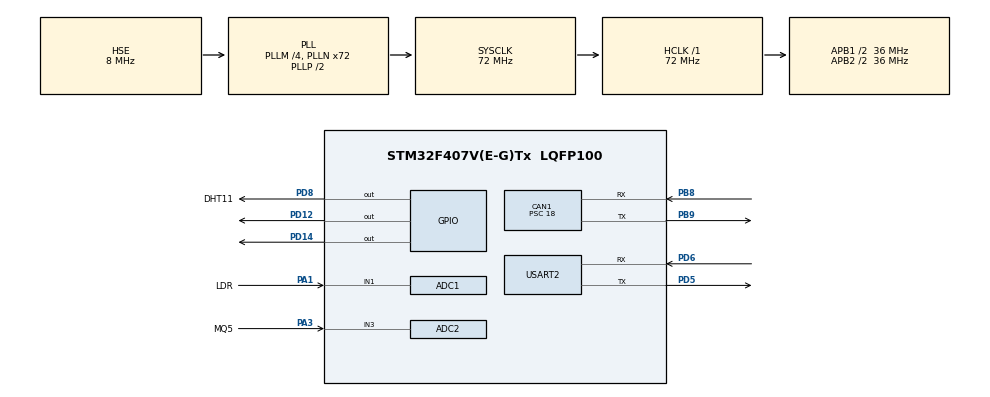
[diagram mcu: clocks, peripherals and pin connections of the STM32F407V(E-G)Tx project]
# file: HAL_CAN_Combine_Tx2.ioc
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ADC1.Channel-0\#ChannelRegularConversion=ADC_CHANNEL_1
ADC1.NbrOfConversionFlag=1
ADC1.Rank-0\#ChannelRegularConversion=1
ADC1.SamplingTime-0\#ChannelRegularConversion=ADC_SAMPLETIME_3CYCLES
ADC1.master=1
ADC2.Channel-0\#ChannelRegularConversion=ADC_CHANNEL_3
ADC2.NbrOfConversionFlag=1
ADC2.Rank-0\#ChannelRegularConversion=1
ADC2.SamplingTime-0\#ChannelRegularConversion=ADC_SAMPLETIME_3CYCLES
CAN1.BS1=CAN_BS1_2TQ
CAN1.CalculateBaudRate=500000
CAN1.CalculateTimeBit=2000
CAN1.CalculateTimeQuantum=500.0
CAN1.Prescaler=18
Mcu.Family=STM32F4
Mcu.Name=STM32F407V(E-G)Tx
Mcu.Package=LQFP100
NVIC.PriorityGroup=NVIC_PRIORITYGROUP_0
PA1.GPIO_Label=LDR
PA1.Signal=ADCx_IN1
PA3.GPIO_Label=MQ5
PA3.Signal=ADCx_IN3
PB8.Mode=CAN_Activate
PB8.Signal=CAN1_RX
PB9.Mode=CAN_Activate
PB9.Signal=CAN1_TX
PD12.Signal=GPIO_Output
PD14.Signal=GPIO_Output
PD5.Mode=Asynchronous
PD5.Signal=USART2_TX
PD6.Mode=Asynchronous
PD6.Signal=USART2_RX
PD8.GPIO_Label=DHT11
PD8.Signal=GPIO_Output
PH0-OSC_IN.Mode=HSE-External-Oscillator
PH0-OSC_IN.Signal=RCC_OSC_IN
PH1-OSC_OUT.Mode=HSE-External-Oscillator
PH1-OSC_OUT.Signal=RCC_OSC_OUT
ProjectManager.HeapSize=0x200
ProjectManager.StackSize=0x400
ProjectManager.TargetToolchain=STM32CubeIDE
RCC.48MHZClocksFreq_Value=20571428.57142857
RCC.AHBFreq_Value=72000000
RCC.APB1CLKDivider=RCC_HCLK_DIV2
RCC.APB1Freq_Value=36000000
RCC.APB1TimFreq_Value=72000000
RCC.APB2CLKDivider=RCC_HCLK_DIV2
RCC.APB2Freq_Value=36000000
RCC.APB2TimFreq_Value=72000000
RCC.CortexFreq_Value=72000000
RCC.HCLKFreq_Value=72000000
RCC.HSE_VALUE=8000000
RCC.HSI_VALUE=16000000
RCC.LSE_VALUE=32768
RCC.PLLM=4
RCC.PLLN=72
RCC.PLLQ=7
RCC.PLLSourceVirtual=RCC_PLLSOURCE_HSE
RCC.SYSCLKFreq_VALUE=72000000
RCC.SYSCLKSource=RCC_SYSCLKSOURCE_PLLCLK
RCC.VCOOutputFreq_Value=144000000
SH.ADCx_IN1.0=ADC1_IN1,IN1
SH.ADCx_IN3.0=ADC2_IN3,IN3
TIM2.Period=65535
TIM2.Prescaler=71
USART2.VirtualMode=VM_ASYNC
VP_TIM2_VS_ClockSourceINT.Mode=Internal
board=STM32F407G-DISC1

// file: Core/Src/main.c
/* USER CODE BEGIN Header */
/**
  ******************************************************************************
  * @file           : main.c
  * @brief          : Main program body
  ******************************************************************************
  * @attention
  *
  * Copyright (c) 2024 STMicroelectronics.
  * All rights reserved.
  *
  * This software is licensed under terms that can be found in the LICENSE file
  * in the root directory of this software component.
  * If no LICENSE file comes with this software, it is provided AS-IS.
  *
  ******************************************************************************
  */
/* USER CODE END Header */

#include "main.h"

/* USER CODE BEGIN Includes */
#include"stdio.h"
#include"string.h"
#include "dht11.h"
/* USER CODE END Includes */

ADC_HandleTypeDef hadc1;
ADC_HandleTypeDef hadc2;

CAN_HandleTypeDef hcan1;

TIM_HandleTypeDef htim2;

UART_HandleTypeDef huart2;

void SystemClock_Config(void);
static void MX_GPIO_Init(void);
static void MX_CAN1_Init(void);
static void MX_USART2_UART_Init(void);
static void MX_ADC1_Init(void);
static void MX_ADC2_Init(void);
static void MX_TIM2_Init(void);
/* USER CODE BEGIN PFP */
uint16_t LDR_DATA = 0 ;
uint16_t MQ5_DATA = 0 ;

uint8_t Rh_byte1, Rh_byte2, Temp_byte1, Temp_byte2;
uint16_t SUM;
float Temperature = 0, Humidity = 0;
uint8_t Presence = 0;

CAN_TxHeaderTypeDef TxHeader;
uint8_t TxData[8] = {0};
uint32_t TxMailBox;

/* USER CODE END PFP */

int main(void)
{

  /* MCU Configuration--------------------------------------------------------*/

  /* Reset of all peripherals, Initializes the Flash interface and the Systick. */
  HAL_Init();

  /* Configure the system clock */
  SystemClock_Config();

  /* Initialize all configured peripherals */
  MX_GPIO_Init();
  MX_CAN1_Init();
  MX_USART2_UART_Init();
  MX_ADC1_Init();
  MX_ADC2_Init();
  MX_TIM2_Init();
  /* USER CODE BEGIN 2 */
  HAL_CAN_Start(&hcan1);

  	  	TxHeader.DLC = 8;
  		TxHeader.RTR = CAN_RTR_DATA;
  		TxHeader.IDE = CAN_ID_STD;
  		TxHeader.StdId = 0x0A9;
  		TxHeader.ExtId = 0x0000;
  		TxHeader.TransmitGlobalTime = DISABLE;

  HAL_TIM_Base_Start(&htim2);       // Start timer for DHT timing
  /* USER CODE END 2 */

  /* Infinite loop */
  /* USER CODE BEGIN WHILE */
  while (1)  {
	  char str[100];
	  // Read LDR sensor (ADC1 Channel 1)
		HAL_ADC_Start(&hadc1);
		HAL_ADC_PollForConversion(&hadc1, HAL_MAX_DELAY);
		LDR_DATA = HAL_ADC_GetValue(&hadc1);
		HAL_ADC_Stop(&hadc1);

		// Read MQ5 sensor (ADC2 Channel 3)
		HAL_ADC_Start(&hadc2);
		HAL_ADC_PollForConversion(&hadc2, HAL_MAX_DELAY);
		MQ5_DATA = HAL_ADC_GetValue(&hadc2);
		HAL_ADC_Stop(&hadc2);

		 // Read DHT11 sensor
		    DHT11_Start();
		    Presence = DHT11_Check_Response();

		    Rh_byte1 = DHT11_Read();
		    Rh_byte2 = DHT11_Read();
		    Temp_byte1 = DHT11_Read();
		    Temp_byte2 = DHT11_Read();
		    SUM = DHT11_Read();

		    uint8_t check = Rh_byte1 + Rh_byte2 + Temp_byte1 + Temp_byte2;

		    if (check != SUM)
		    {
		      sprintf(str, "Checksum error!\r\n");
		      Temperature = 0;
		      Humidity = 0;
		    }
		    else
		    {
		      Humidity = Rh_byte1;     // For DHT11 decimal parts are 0
		      Temperature = Temp_byte1;
		    }

		    // Prepare CAN Tx data: 8 bytes = LDR(2) + MQ5(2) + Temp(2) + Humidity(2)
		    TxData[0] = (LDR_DATA >> 8) & 0xFF;
		    TxData[1] = LDR_DATA & 0xFF;

		    TxData[2] = (MQ5_DATA >> 8) & 0xFF;
		    TxData[3] = MQ5_DATA & 0xFF;

		    uint16_t temp_int = (uint16_t)Temperature;   // Assuming integer value for CAN
		    uint16_t hum_int = (uint16_t)Humidity;

		    TxData[4] = (temp_int >> 8) & 0xFF;
		    TxData[5] = temp_int & 0xFF;

		    TxData[6] = (hum_int >> 8) & 0xFF;
		    TxData[7] = hum_int & 0xFF;

		    if (HAL_CAN_AddTxMessage(&hcan1, &TxHeader, TxData, &TxMailBox) != HAL_OK)
		    {
		      // CAN transmit error, turn on red LED
		      HAL_GPIO_WritePin(GPIOD, GPIO_PIN_14, GPIO_PIN_SET);
		    }
		    else
		    {
		      // CAN transmit successful, toggle green LED
		      HAL_GPIO_TogglePin(GPIOD, GPIO_PIN_12);
		      HAL_GPIO_WritePin(GPIOD, GPIO_PIN_14, GPIO_PIN_RESET);  // Turn off red LED if previously on
		    }

		    // Print all sensor data via UART
		    sprintf(str, "LDR=%u, MQ5=%u, Temp=%.0f C, Hum=%.0f %%\r\n",
		            LDR_DATA, MQ5_DATA, Temperature, Humidity);
		    HAL_UART_Transmit(&huart2, (uint8_t*)str, strlen(str), HAL_MAX_DELAY);

		    HAL_Delay(3000);

    /* USER CODE END WHILE */

  }
}

void SystemClock_Config(void)
{
  RCC_OscInitTypeDef RCC_OscInitStruct = {0};
  RCC_ClkInitTypeDef RCC_ClkInitStruct = {0};

  /** Configure the main internal regulator output voltage
  */
  __HAL_RCC_PWR_CLK_ENABLE();
  __HAL_PWR_VOLTAGESCALING_CONFIG(PWR_REGULATOR_VOLTAGE_SCALE1);

  /** Initializes the RCC Oscillators according to the specified parameters
  * in the RCC_OscInitTypeDef structure.
  */
  RCC_OscInitStruct.OscillatorType = RCC_OSCILLATORTYPE_HSE;
  RCC_OscInitStruct.HSEState = RCC_HSE_ON;
  RCC_OscInitStruct.PLL.PLLState = RCC_PLL_ON;
  RCC_OscInitStruct.PLL.PLLSource = RCC_PLLSOURCE_HSE;
  RCC_OscInitStruct.PLL.PLLM = 4;
  RCC_OscInitStruct.PLL.PLLN = 72;
  RCC_OscInitStruct.PLL.PLLP = RCC_PLLP_DIV2;
  RCC_OscInitStruct.PLL.PLLQ = 7;
  if (HAL_RCC_OscConfig(&RCC_OscInitStruct) != HAL_OK)
  {
    Error_Handler();
  }

  /** Initializes the CPU, AHB and APB buses clocks
  */
  RCC_ClkInitStruct.ClockType = RCC_CLOCKTYPE_HCLK|RCC_CLOCKTYPE_SYSCLK
                              |RCC_CLOCKTYPE_PCLK1|RCC_CLOCKTYPE_PCLK2;
  RCC_ClkInitStruct.SYSCLKSource = RCC_SYSCLKSOURCE_PLLCLK;
  RCC_ClkInitStruct.AHBCLKDivider = RCC_SYSCLK_DIV1;
  RCC_ClkInitStruct.APB1CLKDivider = RCC_HCLK_DIV2;
  RCC_ClkInitStruct.APB2CLKDivider = RCC_HCLK_DIV2;

  if (HAL_RCC_ClockConfig(&RCC_ClkInitStruct, FLASH_LATENCY_2) != HAL_OK)
  {
    Error_Handler();
  }
}

static void MX_ADC1_Init(void)
{

  ADC_ChannelConfTypeDef sConfig = {0};

  /** Configure the global features of the ADC (Clock, Resolution, Data Alignment and number of conversion)
  */
  hadc1.Instance = ADC1;
  hadc1.Init.ClockPrescaler = ADC_CLOCK_SYNC_PCLK_DIV2;
  hadc1.Init.Resolution = ADC_RESOLUTION_12B;
  hadc1.Init.ScanConvMode = DISABLE;
  hadc1.Init.ContinuousConvMode = DISABLE;
  hadc1.Init.DiscontinuousConvMode = DISABLE;
  hadc1.Init.ExternalTrigConvEdge = ADC_EXTERNALTRIGCONVEDGE_NONE;
  hadc1.Init.ExternalTrigConv = ADC_SOFTWARE_START;
  hadc1.Init.DataAlign = ADC_DATAALIGN_RIGHT;
  hadc1.Init.NbrOfConversion = 1;
  hadc1.Init.DMAContinuousRequests = DISABLE;
  hadc1.Init.EOCSelection = ADC_EOC_SINGLE_CONV;
  if (HAL_ADC_Init(&hadc1) != HAL_OK)
  {
    Error_Handler();
  }

  /** Configure for the selected ADC regular channel its corresponding rank in the sequencer and its sample time.
  */
  sConfig.Channel = ADC_CHANNEL_1;
  sConfig.Rank = 1;
  sConfig.SamplingTime = ADC_SAMPLETIME_3CYCLES;
  if (HAL_ADC_ConfigChannel(&hadc1, &sConfig) != HAL_OK)
  {
    Error_Handler();
  }

}

static void MX_ADC2_Init(void)
{

  ADC_ChannelConfTypeDef sConfig = {0};

  /** Configure the global features of the ADC (Clock, Resolution, Data Alignment and number of conversion)
  */
  hadc2.Instance = ADC2;
  hadc2.Init.ClockPrescaler = ADC_CLOCK_SYNC_PCLK_DIV2;
  hadc2.Init.Resolution = ADC_RESOLUTION_12B;
  hadc2.Init.ScanConvMode = DISABLE;
  hadc2.Init.ContinuousConvMode = DISABLE;
  hadc2.Init.DiscontinuousConvMode = DISABLE;
  hadc2.Init.ExternalTrigConvEdge = ADC_EXTERNALTRIGCONVEDGE_NONE;
  hadc2.Init.ExternalTrigConv = ADC_SOFTWARE_START;
  hadc2.Init.DataAlign = ADC_DATAALIGN_RIGHT;
  hadc2.Init.NbrOfConversion = 1;
  hadc2.Init.DMAContinuousRequests = DISABLE;
  hadc2.Init.EOCSelection = ADC_EOC_SINGLE_CONV;
  if (HAL_ADC_Init(&hadc2) != HAL_OK)
  {
    Error_Handler();
  }

  /** Configure for the selected ADC regular channel its corresponding rank in the sequencer and its sample time.
  */
  sConfig.Channel = ADC_CHANNEL_3;
  sConfig.Rank = 1;
  sConfig.SamplingTime = ADC_SAMPLETIME_3CYCLES;
  if (HAL_ADC_ConfigChannel(&hadc2, &sConfig) != HAL_OK)
  {
    Error_Handler();
  }

}

static void MX_CAN1_Init(void)
{

  hcan1.Instance = CAN1;
  hcan1.Init.Prescaler = 18;
  hcan1.Init.Mode = CAN_MODE_NORMAL;
  hcan1.Init.SyncJumpWidth = CAN_SJW_1TQ;
  hcan1.Init.TimeSeg1 = CAN_BS1_2TQ;
  hcan1.Init.TimeSeg2 = CAN_BS2_1TQ;
  hcan1.Init.TimeTriggeredMode = DISABLE;
  hcan1.Init.AutoBusOff = DISABLE;
  hcan1.Init.AutoWakeUp = DISABLE;
  hcan1.Init.AutoRetransmission = DISABLE;
  hcan1.Init.ReceiveFifoLocked = DISABLE;
  hcan1.Init.TransmitFifoPriority = DISABLE;
  if (HAL_CAN_Init(&hcan1) != HAL_OK)
  {
    Error_Handler();
  }

}

static void MX_TIM2_Init(void)
{

  TIM_ClockConfigTypeDef sClockSourceConfig = {0};
  TIM_MasterConfigTypeDef sMasterConfig = {0};

  htim2.Instance = TIM2;
  htim2.Init.Prescaler = 71;
  htim2.Init.CounterMode = TIM_COUNTERMODE_UP;
  htim2.Init.Period = 65535;
  htim2.Init.ClockDivision = TIM_CLOCKDIVISION_DIV1;
  htim2.Init.AutoReloadPreload = TIM_AUTORELOAD_PRELOAD_DISABLE;
  if (HAL_TIM_Base_Init(&htim2) != HAL_OK)
  {
    Error_Handler();
  }
  sClockSourceConfig.ClockSource = TIM_CLOCKSOURCE_INTERNAL;
  if (HAL_TIM_ConfigClockSource(&htim2, &sClockSourceConfig) != HAL_OK)
  {
    Error_Handler();
  }
  sMasterConfig.MasterOutputTrigger = TIM_TRGO_RESET;
  sMasterConfig.MasterSlaveMode = TIM_MASTERSLAVEMODE_DISABLE;
  if (HAL_TIMEx_MasterConfigSynchronization(&htim2, &sMasterConfig) != HAL_OK)
  {
    Error_Handler();
  }

}

static void MX_USART2_UART_Init(void)
{

  huart2.Instance = USART2;
  huart2.Init.BaudRate = 115200;
  huart2.Init.WordLength = UART_WORDLENGTH_8B;
  huart2.Init.StopBits = UART_STOPBITS_1;
  huart2.Init.Parity = UART_PARITY_NONE;
  huart2.Init.Mode = UART_MODE_TX_RX;
  huart2.Init.HwFlowCtl = UART_HWCONTROL_NONE;
  huart2.Init.OverSampling = UART_OVERSAMPLING_16;
  if (HAL_UART_Init(&huart2) != HAL_OK)
  {
    Error_Handler();
  }

}

static void MX_GPIO_Init(void)
{
  GPIO_InitTypeDef GPIO_InitStruct = {0};

  /* GPIO Ports Clock Enable */
  __HAL_RCC_GPIOH_CLK_ENABLE();
  __HAL_RCC_GPIOA_CLK_ENABLE();
  __HAL_RCC_GPIOD_CLK_ENABLE();
  __HAL_RCC_GPIOB_CLK_ENABLE();

  /*Configure GPIO pin Output Level */
  HAL_GPIO_WritePin(GPIOD, DHT11_Pin|GPIO_PIN_12|GPIO_PIN_14, GPIO_PIN_RESET);

  /*Configure GPIO pins : DHT11_Pin PD12 PD14 */
  GPIO_InitStruct.Pin = DHT11_Pin|GPIO_PIN_12|GPIO_PIN_14;
  GPIO_InitStruct.Mode = GPIO_MODE_OUTPUT_PP;
  GPIO_InitStruct.Pull = GPIO_NOPULL;
  GPIO_InitStruct.Speed = GPIO_SPEED_FREQ_LOW;
  HAL_GPIO_Init(GPIOD, &GPIO_InitStruct);

}

void Error_Handler(void)
{
  __disable_irq();
  while (1)
  {
  }
}
